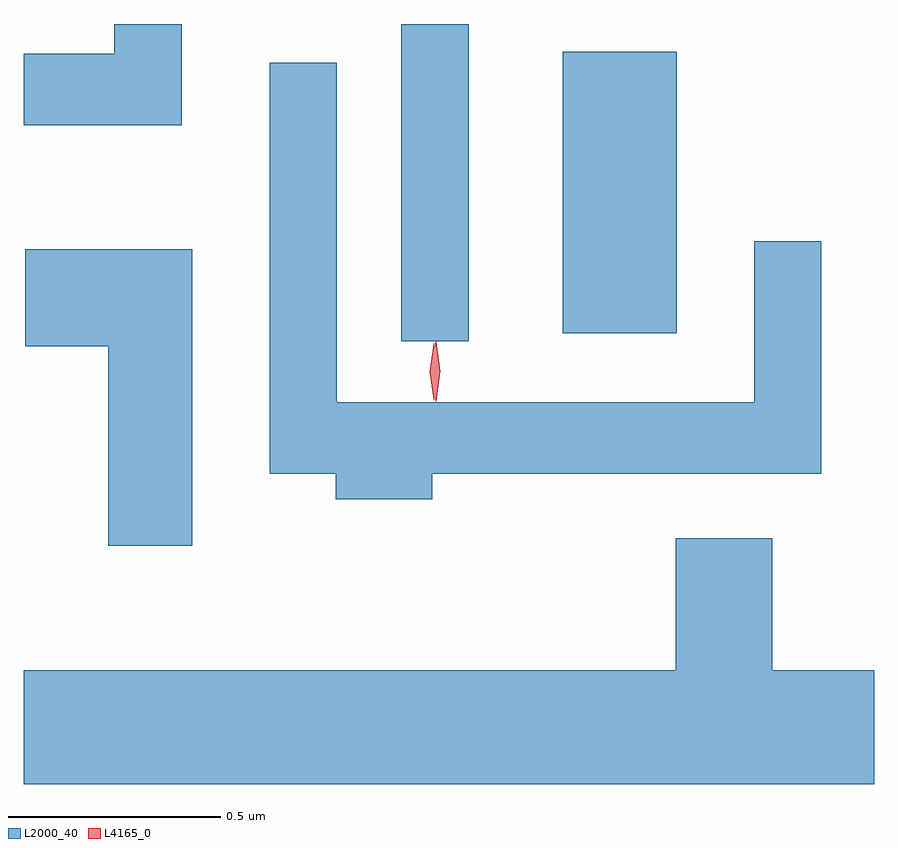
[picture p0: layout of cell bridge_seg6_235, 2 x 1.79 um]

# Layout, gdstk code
import gdstk
lib = gdstk.Library(unit=1e-6, precision=1e-09)
def R(c, l, rs):  # rectangles x0, y0, x1, y1
    for r in rs: c.add(gdstk.rectangle(r[:2], r[2:], *l))
def P(c, l, *ps):  # polygons
    for p in ps: c.add(gdstk.Polygon(p, *l))
L2000_40 = (2000, 40)
L4165_0 = (4165, 0)

bridge_seg6_235 = lib.new_cell('bridge_seg6_235')
R(bridge_seg6_235, L2000_40, [(1126.926,1548.858,1127.084,1549.604), (1127.306,1548.876,1127.574,1549.539)])
P(bridge_seg6_235, L2000_40, [(1126.409,1549.604),(1126.251,1549.604),(1126.251,1549.534),(1126.038,1549.534),(1126.038,1549.366),(1126.409,1549.366)],
  [(1126.999,1548.546),(1127.914,1548.546),(1127.914,1549.093),(1127.756,1549.093),(1127.756,1548.714),(1126.774,1548.714),(1126.774,1549.513),(1126.616,1549.513),(1126.616,1548.546),(1126.771,1548.546),(1126.771,1548.486),(1126.999,1548.486)],
  [(1126.434,1549.074),(1126.041,1549.074),(1126.041,1548.846),(1126.236,1548.846),(1126.236,1548.376),(1126.434,1548.376)],
  [(1128.038,1548.084),(1127.799,1548.084),(1127.799,1548.394),(1127.571,1548.394),(1127.571,1548.084),(1126.038,1548.084),(1126.038,1547.816),(1128.038,1547.816)])
P(bridge_seg6_235, L4165_0, [(1127.002,1548.719),(1127.002,1548.72),(1126.993,1548.786),(1127.002,1548.852),(1127.003,1548.853),(1127.003,1548.852),(1127.012,1548.786),(1127.003,1548.72)],
  [(1127.007,1548.717),(1126.998,1548.787),(1127.007,1548.856),(1127.008,1548.856),(1127.008,1548.856),(1127.018,1548.787),(1127.008,1548.717),(1127.008,1548.717)])

lib.write_gds('bridge_seg6_235.gds')
